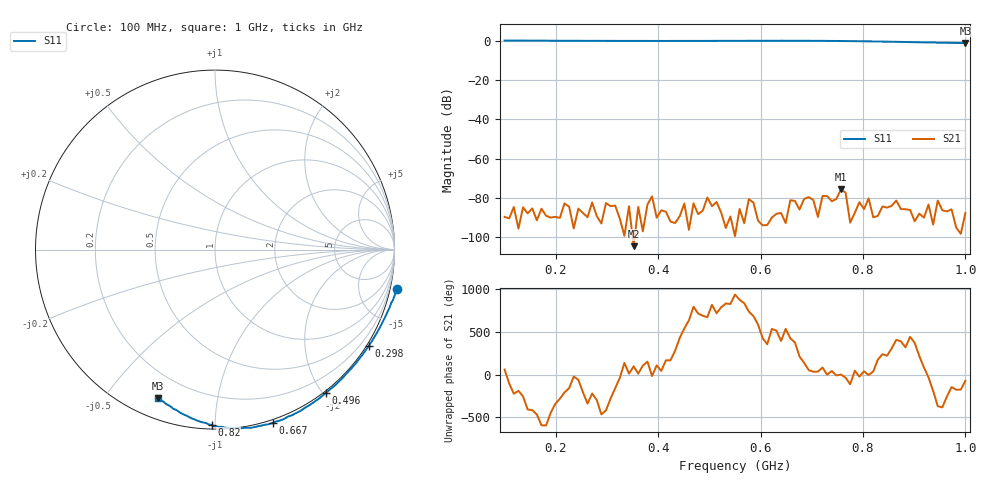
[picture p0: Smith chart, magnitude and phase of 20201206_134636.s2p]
# HZ S RI R 50
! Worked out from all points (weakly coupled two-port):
!   101 points, 100 MHz to 1 GHz, reference 50 ohm
!   highest |S21| = -75.58 dB at 757 MHz (marker M1); lowest = -104.7 dB at 352 MHz (marker M2)
!   lowest |S11| = -1.0 dB at 1 GHz (marker M3), VSWR 16.62, Z = 4.41 - j34.1 ohm
!   |S11| at or under -10 dB: nowhere
!   S12 and S22 are empty: the file has one direction only
!   S11 on the Smith chart (normalised r, x): 100 MHz: -1.50, -9.11; 298 MHz: -0.07, -3.49; 496 MHz: -0.02, -2.04; 667 MHz: -0.03, -1.39; 820 MHz: 0.02, -0.98; 1 GHz: 0.09, -0.68
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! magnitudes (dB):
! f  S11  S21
! 100 MHz  0.3  -89.8
! 253 MHz  0.1  -87.8
! 298 MHz  0.1  -82.7
! 352 MHz  0.1  -104.7
! 379 MHz  0.1  -83.5
! 388 MHz  0.1  -79.3
! 397 MHz  0.1  -90.2
! 406 MHz  0.1  -86.4
! 496 MHz  0.1  -79.9
! 550 MHz  0.1  -99.6
! 667 MHz  0.1  -81.6
! 694 MHz  0.1  -79.7
! 703 MHz  0.1  -81.2
! 712 MHz  0.1  -89.8
! 721 MHz  0.1  -79.1
! 748 MHz  0.0  -80.6
! 757 MHz  0.0  -75.6
! 766 MHz  0.0  -77.4
! 775 MHz  0.0  -92.7
! 820 MHz  -0.2  -90.0
! 856 MHz  -0.4  -84.1
! 1 GHz  -1.0  -87.8
